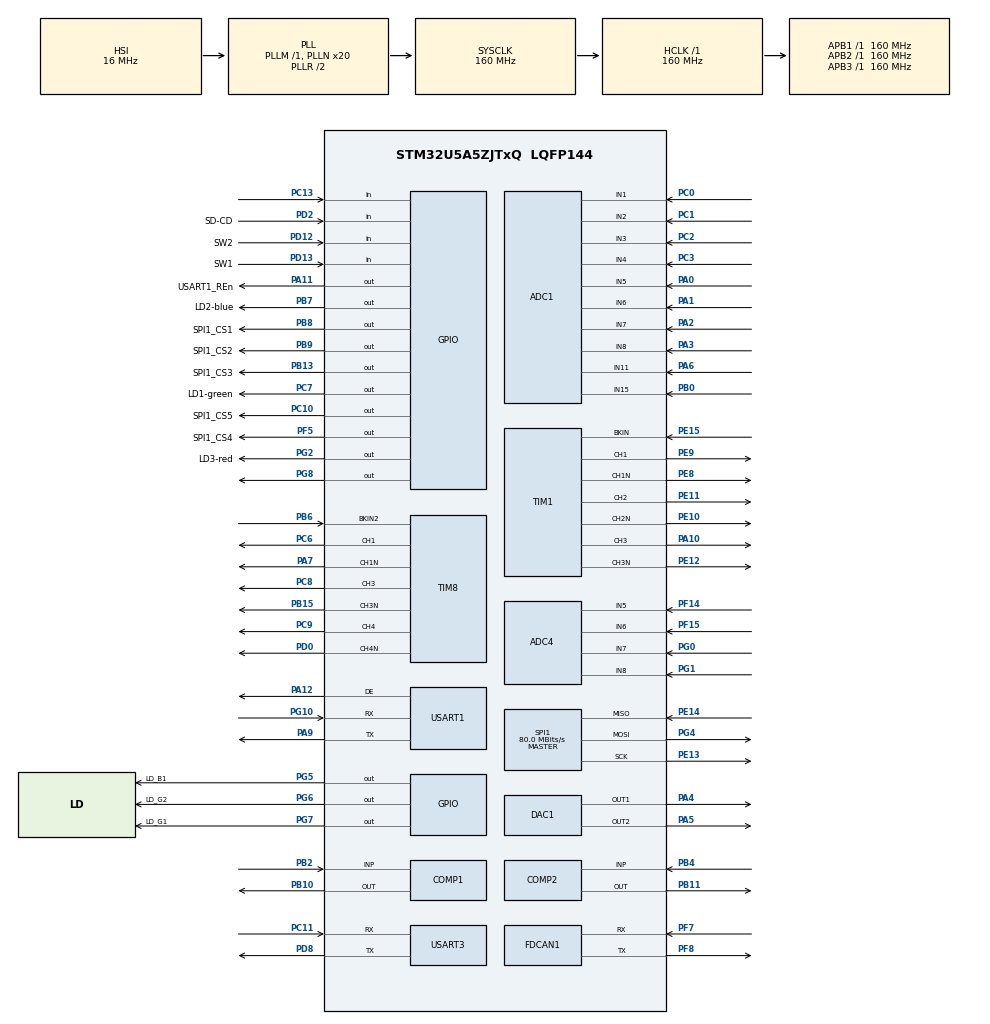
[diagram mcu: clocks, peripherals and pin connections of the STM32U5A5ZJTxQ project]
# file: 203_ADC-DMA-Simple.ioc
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ADC1.Channel-2\#ChannelRegularConversion=ADC_CHANNEL_1
ADC1.ContinuousConvMode=ENABLE
ADC1.ConversionDataManagement=ADC_CONVERSIONDATA_DMA_CIRCULAR
ADC1.EnableInjectedConversion=DISABLE
ADC1.EnableRegularConversion=ENABLE
ADC1.MonitoredBy-2\#ChannelRegularConversion=__NULL
ADC1.NbrOfConversionFlag=1
ADC1.OffsetNumber-2\#ChannelRegularConversion=ADC_OFFSET_NONE
ADC1.Rank-2\#ChannelRegularConversion=1
ADC1.SamplingTime-2\#ChannelRegularConversion=ADC_SAMPLETIME_814CYCLES
ADC1.master=1
ADC4.Channel-0\#ChannelRegularConversion=ADC_CHANNEL_5
ADC4.NbrOfConversionFlag=1
ADC4.OffsetNumber-0\#ChannelRegularConversion=ADC_OFFSET_NONE
ADC4.Rank-0\#ChannelRegularConversion=1
ADC4.RankArg-0\#ChannelRegularConversion=ADC4_REGULAR_RANK_1
ADC4.SamplingTime-0\#ChannelRegularConversion=ADC4_SAMPLINGTIME_COMMON_1
ADC4.SelectedChannel=ADC_CHANNEL_5|ADC_CHANNEL_6|ADC_CHANNEL_7|ADC_CHANNEL_8
CORTEX_M33_NS.AccessPermission-Cortex_Memory_Protection_Unit_Region0_Settings=MPU_REGION_PRIV_RO
CORTEX_M33_NS.AllocateAttribute0=MPU_R_ALLOCATE
CORTEX_M33_NS.Attributes0=MPU_ATTRIBUTES_NUMBER0
CORTEX_M33_NS.AttributesIndex-Cortex_Memory_Protection_Unit_Region1_Settings=MPU_ATTRIBUTES_NUMBER1
CORTEX_M33_NS.BaseAddress-Cortex_Memory_Protection_Unit_Region0_Settings=0x08000000
CORTEX_M33_NS.Enable-Cortex_Memory_Protection_Unit_Region0_Settings=MPU_REGION_ENABLE
CORTEX_M33_NS.LimitAddress-Cortex_Memory_Protection_Unit_Region0_Settings=0x083FFFFF
CORTEX_M33_NS.MPU_Control=MPU_PRIVILEGED_DEFAULT
CORTEX_M33_NS.Memorytype0=MPU_CACHEABLE
CORTEX_M33_NS.Memorytype1=MPU_CACHEABLE
CORTEX_M33_NS.Number-Cortex_Memory_Protection_Unit_Region0_Settings=MPU_REGION_NUMBER0
CORTEX_M33_NS.Number-Cortex_Memory_Protection_Unit_Region1_Settings=MPU_REGION_NUMBER1
CORTEX_M33_NS.userName=CORTEX_M33
DAC1.DAC_Channel-DAC_OUT1_ExtAndInt=DAC_CHANNEL_1
DAC1.DAC_Channel-DAC_OUT2_ExtAndInt=DAC_CHANNEL_2
FDCAN1.CalculateBaudRateNominal=3333333
FDCAN1.CalculateTimeBitNominal=300
FDCAN1.CalculateTimeQuantumNominal=100.0
FLASH.B1_BLOCK_active=true
FLASH.B1_endPage=255
FLASH.B2_BLOCK_active=true
FLASH.B2_Bank=FLASH_BANK_2
FLASH.B2_endPage=255
FLASH.OB_Boot_Configuration_active_NS0=true
FLASH.OB_NSBOOTADD0_Address=0x08000000
GPDMA1.CIRCULARMODE_GPDMACH15=ENABLE
GPDMA1.DESTDATAWIDTH_GPDMACH15=DMA_DEST_DATAWIDTH_HALFWORD
GPDMA1.DESTINC_GPDMACH15=DMA_DINC_INCREMENTED
GPDMA1.IPHANDLE_GPDMACH15-SIMPLEREQUEST_GPDMACH15=__NULL
GPDMA1.REQUEST_GPDMACH15=GPDMA1_REQUEST_ADC1
GPDMA1.SRCDATAWIDTH_GPDMACH15=DMA_SRC_DATAWIDTH_HALFWORD
GTZC.MPCBB1_Area_Privilege=GTZC_MPCBB_REGION_NPRIV
GTZC.MPCBB1_Area_Privilege_Choice=from full Privileged
GTZC.MPCBB1_Area_Privilege_Size=0x000C0000
GTZC.MPCBB1_PrivConfig_array=00000000\:00000000\:00000000\:00000000\:00000000\:00000000\:00000000\:00000000\:00000000\:00000000\:00000000\:00000000\:00000000\:00000000\:00000000\:00000000\:00000000\:00000000\:00000000\:00000000\:00000000\:00000000\:00000000\:00000000\:00000000\:00000000\:00000000\:00000000\:00000000\:00000000\:00000000\:00000000\:00000000\:00000000\:00000000\:00000000\:00000000\:00000000\:00000000\:00000000\:00000000\:00000000\:00000000\:00000000\:00000000\:00000000\:00000000\:00000000
GTZC.MPCBB1_SecConfig_array=00000000\:00000000\:00000000\:00000000\:00000000\:00000000\:00000000\:00000000\:00000000\:00000000\:00000000\:00000000\:00000000\:00000000\:00000000\:00000000\:00000000\:00000000\:00000000\:00000000\:00000000\:00000000\:00000000\:00000000\:00000000\:00000000\:00000000\:00000000\:00000000\:00000000\:00000000\:00000000\:00000000\:00000000\:00000000\:00000000\:00000000\:00000000\:00000000\:00000000\:00000000\:00000000\:00000000\:00000000\:00000000\:00000000\:00000000\:00000000
GTZC.MPCBB2_Area_Privilege=GTZC_MPCBB_REGION_NPRIV
GTZC.MPCBB2_Area_Privilege_Choice=from full Privileged
GTZC.MPCBB2_Area_Privilege_Size=0x00010000
GTZC.MPCBB2_PrivConfig_array=00000000\:00000000\:00000000\:00000000\:FFFFFFFF\:FFFFFFFF\:FFFFFFFF\:FFFFFFFF\:FFFFFFFF\:FFFFFFFF\:FFFFFFFF\:FFFFFFFF\:FFFFFFFF\:FFFFFFFF\:FFFFFFFF\:FFFFFFFF\:FFFFFFFF\:FFFFFFFF\:FFFFFFFF\:FFFFFFFF\:FFFFFFFF\:FFFFFFFF\:FFFFFFFF\:FFFFFFFF\:FFFFFFFF\:FFFFFFFF\:FFFFFFFF\:FFFFFFFF\:FFFFFFFF\:FFFFFFFF\:FFFFFFFF\:FFFFFFFF\:FFFFFFFF\:FFFFFFFF\:FFFFFFFF\:FFFFFFFF\:FFFFFFFF\:FFFFFFFF\:FFFFFFFF\:FFFFFFFF\:FFFFFFFF\:FFFFFFFF\:FFFFFFFF\:FFFFFFFF\:FFFFFFFF\:FFFFFFFF\:FFFFFFFF\:FFFFFFFF\:FFFFFFFF\:FFFFFFFF\:FFFFFFFF\:FFFFFFFF
GTZC.MPCBB2_SecConfig_array=00000000\:00000000\:00000000\:00000000\:00000000\:00000000\:00000000\:00000000\:00000000\:00000000\:00000000\:00000000\:00000000\:00000000\:00000000\:00000000\:00000000\:00000000\:00000000\:00000000\:00000000\:00000000\:00000000\:00000000\:00000000\:00000000\:00000000\:00000000\:00000000\:00000000\:00000000\:00000000\:00000000\:00000000\:00000000\:00000000\:00000000\:00000000\:00000000\:00000000\:00000000\:00000000\:00000000\:00000000\:00000000\:00000000\:00000000\:00000000\:00000000\:00000000\:00000000\:00000000
GTZC.MPCBB3_Area_Privilege=GTZC_MPCBB_REGION_NPRIV
GTZC.MPCBB3_Area_Privilege_Choice=from full Privileged
GTZC.MPCBB3_Area_Privilege_Size=0x000D0000
GTZC.MPCBB3_PrivConfig_array=00000000\:00000000\:00000000\:00000000\:00000000\:00000000\:00000000\:00000000\:00000000\:00000000\:00000000\:00000000\:00000000\:00000000\:00000000\:00000000\:00000000\:00000000\:00000000\:00000000\:00000000\:00000000\:00000000\:00000000\:00000000\:00000000\:00000000\:00000000\:00000000\:00000000\:00000000\:00000000\:00000000\:00000000\:00000000\:00000000\:00000000\:00000000\:00000000\:00000000\:00000000\:00000000\:00000000\:00000000\:00000000\:00000000\:00000000\:00000000\:00000000\:00000000\:00000000\:00000000
GTZC.MPCBB3_SecConfig_array=00000000\:00000000\:00000000\:00000000\:00000000\:00000000\:00000000\:00000000\:00000000\:00000000\:00000000\:00000000\:00000000\:00000000\:00000000\:00000000\:00000000\:00000000\:00000000\:00000000\:00000000\:00000000\:00000000\:00000000\:00000000\:00000000\:00000000\:00000000\:00000000\:00000000\:00000000\:00000000\:00000000\:00000000\:00000000\:00000000\:00000000\:00000000\:00000000\:00000000\:00000000\:00000000\:00000000\:00000000\:00000000\:00000000\:00000000\:00000000\:00000000\:00000000\:00000000\:00000000
GTZC.MPCBB4_PrivConfig_array=00000000
GTZC.MPCBB4_SecConfig_array=00000000
GTZC.MPCBB5_Area_Privilege=GTZC_MPCBB_REGION_NPRIV
GTZC.MPCBB5_Area_Privilege_Choice=from full Privileged
GTZC.MPCBB5_Area_Privilege_Size=0x000D0000
GTZC.MPCBB5_PrivConfig_array=00000000\:00000000\:00000000\:00000000\:00000000\:00000000\:00000000\:00000000\:00000000\:00000000\:00000000\:00000000\:00000000\:00000000\:00000000\:00000000\:00000000\:00000000\:00000000\:00000000\:00000000\:00000000\:00000000\:00000000\:00000000\:00000000\:00000000\:00000000\:00000000\:00000000\:00000000\:00000000\:00000000\:00000000\:00000000\:00000000\:00000000\:00000000\:00000000\:00000000\:00000000\:00000000\:00000000\:00000000\:00000000\:00000000\:00000000\:00000000\:00000000\:00000000\:00000000\:00000000
GTZC.MPCBB5_SecConfig_array=00000000\:00000000\:00000000\:00000000\:00000000\:00000000\:00000000\:00000000\:00000000\:00000000\:00000000\:00000000\:00000000\:00000000\:00000000\:00000000\:00000000\:00000000\:00000000\:00000000\:00000000\:00000000\:00000000\:00000000\:00000000\:00000000\:00000000\:00000000\:00000000\:00000000\:00000000\:00000000\:00000000\:00000000\:00000000\:00000000\:00000000\:00000000\:00000000\:00000000\:00000000\:00000000\:00000000\:00000000\:00000000\:00000000\:00000000\:00000000\:00000000\:00000000\:00000000\:00000000
Mcu.Family=STM32U5
Mcu.Name=STM32U5A5ZJTxQ
Mcu.Package=LQFP144
NVIC.GPDMA1_Channel15_IRQn=true\:0\:0\:false\:false\:true\:false\:true\:true
NVIC.PriorityGroup=NVIC_PRIORITYGROUP_4
PA0.Mode=IN5-Single-Ended
PA0.Signal=ADC1_IN5
PA1.Mode=IN6-Single-Ended
PA1.Signal=ADC1_IN6
PA10.Signal=S_TIM1_CH3
PA11.GPIO_Label=USART1_REn
PA11.Signal=GPIO_Output
PA12.Mode=Hardware Flow Control (RS485)
PA12.Signal=USART1_DE
PA13\ (JTMS/SWDIO).Mode=Trace_Asynchronous_SW
PA13\ (JTMS/SWDIO).Signal=DEBUG_JTMS-SWDIO
PA14\ (JTCK/SWCLK).Mode=Trace_Asynchronous_SW
PA14\ (JTCK/SWCLK).Signal=DEBUG_JTCK-SWCLK
PA2.Mode=IN7-Single-Ended
PA2.Signal=ADC1_IN7
PA3.Mode=IN8-Single-Ended
PA3.Signal=ADC1_IN8
PA4.Signal=COMP_DAC11_group
PA5.Signal=COMP_DAC12_group
PA6.Mode=IN11-Single-Ended
PA6.Signal=ADC1_IN11
PA7.Mode=PWM Generation1 CH1 CH1N
PA7.Signal=TIM8_CH1N
PA9.Mode=Asynchronous
PA9.Signal=USART1_TX
PB0.Mode=IN15-Single-Ended
PB0.Signal=ADC1_IN15
PB10.Mode=ExternalOutput
PB10.Signal=COMP1_OUT
PB11.Mode=ExternalOutput
PB11.Signal=COMP2_OUT
PB13.GPIO_Label=SPI1_CS3
PB13.Signal=GPIO_Output
PB15.Mode=PWM Generation3 CH3 CH3N
PB15.Signal=TIM8_CH3N
PB2.Mode=INP
PB2.Signal=COMP1_INP
PB3\ (JTDO/TRACESWO).Mode=Trace_Asynchronous_SW
PB3\ (JTDO/TRACESWO).Signal=DEBUG_JTDO-SWO
PB4\ (NJTRST).Mode=INP
PB4\ (NJTRST).Signal=COMP2_INP
PB6.Mode=Activate-Break-Input-2
PB6.Signal=TIM8_BKIN2
PB7.GPIO_Label=LD2-blue
PB7.Signal=GPIO_Output
PB8.GPIO_Label=SPI1_CS1
PB8.Signal=GPIO_Output
PB9.GPIO_Label=SPI1_CS2
PB9.Signal=GPIO_Output
PC0.Mode=IN1-Single-Ended
PC0.Signal=ADC1_IN1
PC1.Mode=IN2-Single-Ended
PC1.Signal=ADC1_IN2
PC10.GPIO_Label=SPI1_CS5
PC10.Signal=GPIO_Output
PC11.Mode=Asynchronous
PC11.Signal=USART3_RX
PC13.Signal=GPIO_Input
PC14-OSC32_IN\ (PC14).Mode=LSE-External-Oscillator
PC14-OSC32_IN\ (PC14).Signal=RCC_OSC32_IN
PC15-OSC32_OUT\ (PC15).Mode=LSE-External-Oscillator
PC15-OSC32_OUT\ (PC15).Signal=RCC_OSC32_OUT
PC2.Mode=IN3-Single-Ended
PC2.Signal=ADC1_IN3
PC3.Mode=IN4-Single-Ended
PC3.Signal=ADC1_IN4
PC6.Signal=S_TIM8_CH1
PC7.GPIO_Label=LD1-green
PC7.Signal=GPIO_Output
PC8.Signal=S_TIM8_CH3
PC9.Signal=S_TIM8_CH4
PD0.Mode=PWM Generation4 CH4 CH4N
PD0.Signal=TIM8_CH4N
PD12.GPIO_Label=SW2
PD12.Signal=GPIO_Input
PD13.GPIO_Label=SW1
PD13.Signal=GPIO_Input
PD2.GPIO_Label=SD-CD
PD2.Signal=GPIO_Input
PD8.Mode=Asynchronous
PD8.Signal=USART3_TX
PE10.Mode=PWM Generation2 CH2 CH2N
PE10.Signal=TIM1_CH2N
PE11.Signal=S_TIM1_CH2
PE12.Mode=PWM Generation3 CH3 CH3N
PE12.Signal=TIM1_CH3N
PE13.Mode=Full_Duplex_Master
PE13.Signal=SPI1_SCK
PE14.Mode=Full_Duplex_Master
PE14.Signal=SPI1_MISO
PE15.Mode=Activate-Break-Input
PE15.Signal=TIM1_BKIN
PE8.Mode=PWM Generation1 CH1 CH1N
PE8.Signal=TIM1_CH1N
PE9.Signal=S_TIM1_CH1
PF14.Mode=IN5
PF14.Signal=ADC4_IN5
PF15.Mode=IN6
PF15.Signal=ADC4_IN6
PF5.GPIO_Label=SPI1_CS4
PF5.Signal=GPIO_Output
PF7.Mode=FDCAN_Activate
PF7.Signal=FDCAN1_RX
PF8.Mode=FDCAN_Activate
PF8.Signal=FDCAN1_TX
PG0.Mode=IN7
PG0.Signal=ADC4_IN7
PG1.Mode=IN8
PG1.Signal=ADC4_IN8
PG10.Mode=Asynchronous
PG10.Signal=USART1_RX
PG2.GPIO_Label=LD3-red
PG2.Signal=GPIO_Output
PG4.Mode=Full_Duplex_Master
PG4.Signal=SPI1_MOSI
PG5.GPIO_Label=LD_B1
PG5.Signal=GPIO_Output
PG6.GPIO_Label=LD_G2
PG6.Signal=GPIO_Output
PG7.GPIO_Label=LD_G1
PG7.Signal=GPIO_Output
PG8.Signal=GPIO_Output
PWR.PowerMode=PWR_SMPS_SUPPLY
ProjectManager.HeapSize=0x2000
ProjectManager.StackSize=0x10000
ProjectManager.TargetToolchain=STM32CubeIDE
RCC.ADCFreq_Value=16000000
RCC.AHBFreq_Value=160000000
RCC.APB1Freq_Value=160000000
RCC.APB1TimFreq_Value=160000000
RCC.APB2Freq_Value=160000000
RCC.APB2TimFreq_Value=160000000
RCC.APB3Freq_Value=160000000
RCC.CortexFreq_Value=160000000
RCC.DACCLockSelectionVirtual=RCC_DAC1CLKSOURCE_LSI
RCC.EPOD_VALUE=16000000
RCC.HCLKFreq_Value=160000000
RCC.HSE_VALUE=16000000
RCC.HSI48_VALUE=48000000
RCC.HSI_VALUE=16000000
RCC.LSIDIV_VALUE=32000
RCC.MSIClockRange=RCC_MSIRANGE_0
RCC.MSI_VALUE=48000000
RCC.PLLFRACN=0
RCC.PLLN=20
RCC.PLLSourceVirtual=RCC_PLLSOURCE_HSI
RCC.SYSCLKFreq_VALUE=160000000
RCC.SYSCLKSource=RCC_SYSCLKSOURCE_PLLCLK
RCC.USBPHYCLockSelection=RCC_USBPHYCLKSOURCE_HSE
RCC.VCOOutputFreq_Value=320000000
SH.COMP_DAC11_group.0=DAC1_OUT1,DAC_OUT1_ExtAndInt
SH.COMP_DAC12_group.0=DAC1_OUT2,DAC_OUT2_ExtAndInt
SH.S_TIM1_CH1.0=TIM1_CH1,PWM Generation1 CH1 CH1N
SH.S_TIM1_CH2.0=TIM1_CH2,PWM Generation2 CH2 CH2N
SH.S_TIM1_CH3.0=TIM1_CH3,PWM Generation3 CH3 CH3N
SH.S_TIM8_CH1.0=TIM8_CH1,PWM Generation1 CH1 CH1N
SH.S_TIM8_CH3.0=TIM8_CH3,PWM Generation3 CH3 CH3N
SH.S_TIM8_CH4.0=TIM8_CH4,PWM Generation4 CH4 CH4N
SPI1.CalculateBaudRate=80.0 MBits/s
SPI1.Direction=SPI_DIRECTION_2LINES
SPI1.Mode=SPI_MODE_MASTER
SPI1.VirtualType=VM_MASTER
STMicroelectronics.X-CUBE-ALGOBUILD.1.4.0.LibraryCcDSPOoLibraryJjDSPOoLibrary=true
TIM1.Channel-PWM\ Generation1\ CH1\ CH1N=TIM_CHANNEL_1
TIM1.Channel-PWM\ Generation2\ CH2\ CH2N=TIM_CHANNEL_2
TIM1.Channel-PWM\ Generation3\ CH3\ CH3N=TIM_CHANNEL_3
TIM1.SourceBRK2COMP1=TIM_BREAKINPUTSOURCE_DISABLE
TIM1.SourceBRKCOMP1=TIM_BREAKINPUTSOURCE_ENABLE
TIM8.AutomaticOutput=TIM_AUTOMATICOUTPUT_DISABLE
TIM8.Channel-PWM\ Generation1\ CH1\ CH1N=TIM_CHANNEL_1
TIM8.Channel-PWM\ Generation3\ CH3\ CH3N=TIM_CHANNEL_3
TIM8.Channel-PWM\ Generation4\ CH4\ CH4N=TIM_CHANNEL_4
TIM8.SourceBRK2COMP2=TIM_BREAKINPUTSOURCE_ENABLE
TIM8.SourceBRKCOMP2=TIM_BREAKINPUTSOURCE_ENABLE
USART1.VirtualMode-Asynchronous=VM_ASYNC
USART1.VirtualMode-Hardware\ Flow\ Control\ (RS485)=VM_ASYNC
USART3.VirtualMode-Asynchronous=VM_ASYNC
VP_COMP1_VS_DACOUT1.Mode=INM_DACOUT1
VP_COMP2_VS_DACOUT2.Mode=INM_DACOUT2
VP_FLASH_SIG_Activate_FlashIP.Mode=Activate_FlashIP
VP_GPDMA1_VS_GPDMACH15.Mode=SIMPLEREQUEST_GPDMACH15
VP_GTZC_VS_GTZC_Enable.Mode=GTZC_Enable
VP_ICACHE_VS_ICACHE.Mode=DirectMappedCache
VP_LPBAMQUEUE_VS_QUEUE.Mode=QUEUEMODE
VP_MEMORYMAP_VS_MEMORYMAP.Mode=CurAppReg
VP_PWR_VS_DBSignals.Mode=DisableDeadBatterySignals
VP_PWR_VS_LPOM.Mode=PowerOptimisation
VP_PWR_VS_SECSignals.Mode=Security/Privilege
VP_PWR_Vdda.Mode=isolationVdda
VP_STMicroelectronics.X-CUBE-ALGOBUILD_VS_DSPOoLibraryJjLibrary_1.4.0_1.4.0.Mode=DSPOoLibraryJjLibrary
VP_TIM1_VS_ClockSourceINT.Mode=Internal
board=NUCLEO-U5A5ZJ-Q

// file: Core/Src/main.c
/* USER CODE BEGIN Header */
/**
  ******************************************************************************
  * @file           : main.c
  * @brief          : Main program body
  ******************************************************************************
  * @attention
  *
  * In diesem Projekt wird ein simpler ADC mit DMA implementiert (ohne Trigger).
  * Das Spannungssignal wird am CN9 zwischen Pin A5 (+) und GND
  * eingespeist. Der ADC Wert [0] wird auf der SVW Konsole ausgegeben.
  *
  ******************************************************************************
  */
/* USER CODE END Header */
#include "main.h"
#include "adc.h"
#include "comp.h"
#include "dac.h"
#include "fdcan.h"
#include "flash.h"
#include "gpdma.h"
#include "gtzc.h"
#include "icache.h"
#include "spi.h"
#include "tim.h"
#include "usart.h"
#include "gpio.h"

/* USER CODE BEGIN Includes */
// FFT
#include <stdio.h>
#include <stdlib.h>
#include <math.h>
#include "arm_math.h"
#include "complex.h"
#include "input.h"
#include "fft.h"
/* USER CODE END Includes */

/* USER CODE BEGIN PD */
#define N 65536	// Muss 2^N sein!
/* USER CODE END PD */

/* USER CODE BEGIN PV */
// Globale Variablen
// FFT
float x[N];
Complex c[N];
// DMA
uint16_t ADC_VAL[10];
float voltage = 0;
/* USER CODE END PV */

void SystemClock_Config(void);
static void SystemPower_Config(void);
static void MPU_Config(void);

int main(void)
{

  /* MCU Configuration--------------------------------------------------------*/

  /* MPU Configuration--------------------------------------------------------*/
  MPU_Config();

  /* Reset of all peripherals, Initializes the Flash interface and the Systick. */
  HAL_Init();

  /* Configure the System Power */
  SystemPower_Config();

  /* Configure the system clock */
  SystemClock_Config();
  /* GTZC initialisation */
  MX_GTZC_Init();

  /* Initialize all configured peripherals */
  MX_GPIO_Init();
  MX_GPDMA1_Init();
  MX_ICACHE_Init();
  MX_FLASH_Init();
  MX_ADC1_Init();
  MX_ADC4_Init();
  MX_COMP1_Init();
  MX_COMP2_Init();
  MX_DAC1_Init();
  MX_FDCAN1_Init();
  MX_SPI1_Init();
  MX_TIM1_Init();
  MX_TIM8_Init();
  MX_USART3_UART_Init();
  MX_USART1_UART_Init();
  /* USER CODE BEGIN 2 */
  // printf()
  printf("Start Monitoringsystem!\r\n");
  // Starte ADC im DMA Modus
  HAL_ADC_Start_DMA(&hadc1, (uint32_t*)ADC_VAL, 10);
  /* USER CODE END 2 */

  /* Infinite loop */
  /* USER CODE BEGIN WHILE */
  while (1)
  {
	  // Grüne LED
	  HAL_GPIO_TogglePin(LD1_green_GPIO_Port, LD1_green_Pin);

	  // FFT
	  /*printf("Start FFT\n");
	  make_complex(x, c, (int)N);
	  fft(c, (int)N);
	  scale(c, (int)N);
	  abs_val(c, (int)N);*/

	  // Konsole
	  voltage = (ADC_VAL[0]/16383.0)*3.3;
	  printf("ADC Value: %.2f\r\n", voltage);

	  // Delay
	  HAL_Delay(200);

    /* USER CODE END WHILE */

  }
}

void SystemClock_Config(void)
{
  RCC_OscInitTypeDef RCC_OscInitStruct = {0};
  RCC_ClkInitTypeDef RCC_ClkInitStruct = {0};

  /** Configure the main internal regulator output voltage
  */
  if (HAL_PWREx_ControlVoltageScaling(PWR_REGULATOR_VOLTAGE_SCALE1) != HAL_OK)
  {
    Error_Handler();
  }

  /** Initializes the CPU, AHB and APB buses clocks
  */
  RCC_OscInitStruct.OscillatorType = RCC_OSCILLATORTYPE_HSI|RCC_OSCILLATORTYPE_LSI;
  RCC_OscInitStruct.HSIState = RCC_HSI_ON;
  RCC_OscInitStruct.HSICalibrationValue = RCC_HSICALIBRATION_DEFAULT;
  RCC_OscInitStruct.LSIState = RCC_LSI_ON;
  RCC_OscInitStruct.LSIDiv = RCC_LSI_DIV1;
  RCC_OscInitStruct.PLL.PLLState = RCC_PLL_ON;
  RCC_OscInitStruct.PLL.PLLSource = RCC_PLLSOURCE_HSI;
  RCC_OscInitStruct.PLL.PLLMBOOST = RCC_PLLMBOOST_DIV1;
  RCC_OscInitStruct.PLL.PLLM = 1;
  RCC_OscInitStruct.PLL.PLLN = 20;
  RCC_OscInitStruct.PLL.PLLP = 2;
  RCC_OscInitStruct.PLL.PLLQ = 2;
  RCC_OscInitStruct.PLL.PLLR = 2;
  RCC_OscInitStruct.PLL.PLLRGE = RCC_PLLVCIRANGE_1;
  RCC_OscInitStruct.PLL.PLLFRACN = 0;
  if (HAL_RCC_OscConfig(&RCC_OscInitStruct) != HAL_OK)
  {
    Error_Handler();
  }

  /** Initializes the CPU, AHB and APB buses clocks
  */
  RCC_ClkInitStruct.ClockType = RCC_CLOCKTYPE_HCLK|RCC_CLOCKTYPE_SYSCLK
                              |RCC_CLOCKTYPE_PCLK1|RCC_CLOCKTYPE_PCLK2
                              |RCC_CLOCKTYPE_PCLK3;
  RCC_ClkInitStruct.SYSCLKSource = RCC_SYSCLKSOURCE_PLLCLK;
  RCC_ClkInitStruct.AHBCLKDivider = RCC_SYSCLK_DIV1;
  RCC_ClkInitStruct.APB1CLKDivider = RCC_HCLK_DIV1;
  RCC_ClkInitStruct.APB2CLKDivider = RCC_HCLK_DIV1;
  RCC_ClkInitStruct.APB3CLKDivider = RCC_HCLK_DIV1;

  if (HAL_RCC_ClockConfig(&RCC_ClkInitStruct, FLASH_LATENCY_4) != HAL_OK)
  {
    Error_Handler();
  }
}

/**
  * @brief Power Configuration
  * @retval None
  */
static void SystemPower_Config(void)
{
  HAL_PWREx_EnableVddIO2();

  /*
   * Disable the internal Pull-Up in Dead Battery pins of UCPD peripheral
   */
  HAL_PWREx_DisableUCPDDeadBattery();

  /*
   * Switch to SMPS regulator instead of LDO
   */
  if (HAL_PWREx_ConfigSupply(PWR_SMPS_SUPPLY) != HAL_OK)
  {
    Error_Handler();
  }
}

/* USER CODE BEGIN 4 */
int _write(int file, char *ptr, int len)
{
  (void)file;
  int DataIdx;

  for (DataIdx = 0; DataIdx < len; DataIdx++)
  {
    ITM_SendChar(*ptr++);
  }
  return len;
}
/* USER CODE END 4 */

 /* MPU Configuration */

void MPU_Config(void)
{
  MPU_Region_InitTypeDef MPU_InitStruct = {0};
  MPU_Attributes_InitTypeDef MPU_AttributesInit = {0};

  /* Disables the MPU */
  HAL_MPU_Disable();

  /** Initializes and configures the Region 0 and the memory to be protected
  */
  MPU_InitStruct.Enable = MPU_REGION_ENABLE;
  MPU_InitStruct.Number = MPU_REGION_NUMBER0;
  MPU_InitStruct.BaseAddress = 0x08000000;
  MPU_InitStruct.LimitAddress = 0x083FFFFF;
  MPU_InitStruct.AttributesIndex = MPU_ATTRIBUTES_NUMBER0;
  MPU_InitStruct.AccessPermission = MPU_REGION_PRIV_RO;
  MPU_InitStruct.DisableExec = MPU_INSTRUCTION_ACCESS_ENABLE;
  MPU_InitStruct.IsShareable = MPU_ACCESS_NOT_SHAREABLE;

  HAL_MPU_ConfigRegion(&MPU_InitStruct);

  /** Initializes and configures the Attribute 0 and the memory to be protected
  */
  MPU_AttributesInit.Number = MPU_ATTRIBUTES_NUMBER0;
  MPU_AttributesInit.Attributes = INNER_OUTER(MPU_WRITE_THROUGH|MPU_TRANSIENT
                              |MPU_R_ALLOCATE);

  HAL_MPU_ConfigMemoryAttributes(&MPU_AttributesInit);
  /* Enables the MPU */
  HAL_MPU_Enable(MPU_PRIVILEGED_DEFAULT);

}

void Error_Handler(void)
{
  __disable_irq();
  while (1)
  {
  }
}
